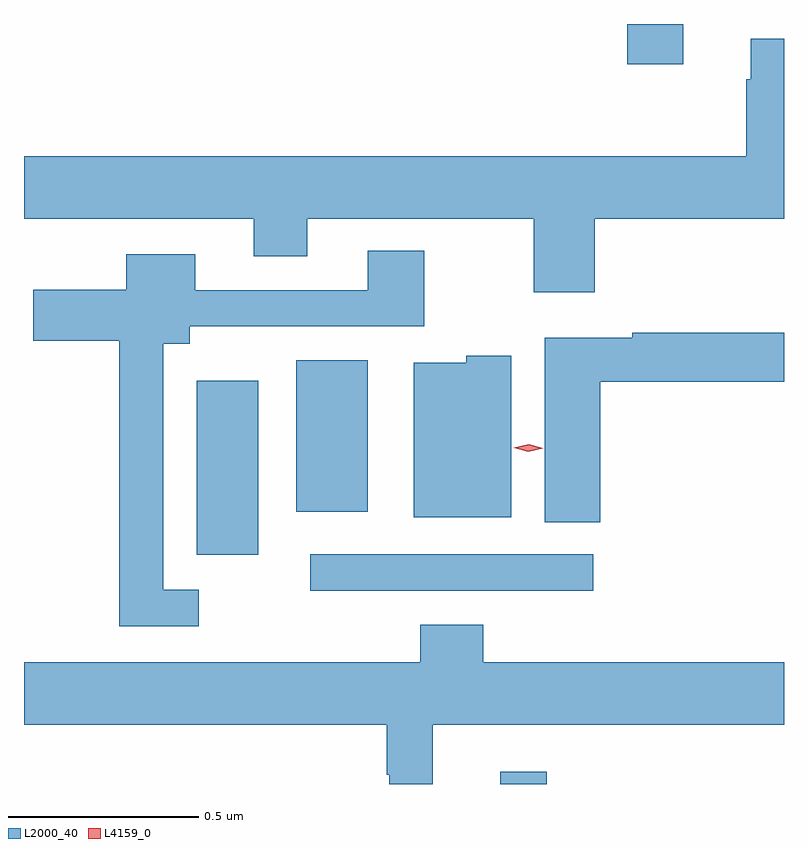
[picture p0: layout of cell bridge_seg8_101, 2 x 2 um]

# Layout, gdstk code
import gdstk
lib = gdstk.Library(unit=1e-6, precision=1e-09)
def R(c, l, rs):  # rectangles x0, y0, x1, y1
    for r in rs: c.add(gdstk.rectangle(r[:2], r[2:], *l))
def P(c, l, *ps):  # polygons
    for p in ps: c.add(gdstk.Polygon(p, *l))
L2000_40 = (2000, 40)
L4159_0 = (4159, 0)

bridge_seg8_101 = lib.new_cell('bridge_seg8_101')
R(bridge_seg8_101, L2000_40, [(724.451,1133.66,724.573,1133.692), (723.951,1134.168,724.696,1134.264), (723.653,1134.263,723.814,1134.721), (723.914,1134.377,724.102,1134.775), (724.785,1135.554,724.933,1135.66)])
P(bridge_seg8_101, L2000_40, [(724.7,1135.148),(725.198,1135.148),(725.198,1135.621),(725.111,1135.621),(725.111,1135.514),(725.099,1135.514),(725.099,1135.312),(723.198,1135.312),(723.198,1135.148),(723.803,1135.148),(723.803,1135.049),(723.943,1135.049),(723.943,1135.148),(724.54,1135.148),(724.54,1134.954),(724.7,1134.954)],
  [(723.658,1134.171),(723.564,1134.171),(723.564,1134.818),(723.634,1134.818),(723.634,1134.864),(724.251,1134.864),(724.251,1135.063),(724.103,1135.063),(724.103,1134.96),(723.649,1134.96),(723.649,1135.054),(723.467,1135.054),(723.467,1134.961),(723.222,1134.961),(723.222,1134.827),(723.448,1134.827),(723.448,1134.075),(723.658,1134.075)],
  [(724.715,1134.718),(725.198,1134.718),(725.198,1134.847),(724.798,1134.847),(724.798,1134.834),(724.568,1134.834),(724.568,1134.349),(724.715,1134.349)],
  [(724.48,1134.787),(724.362,1134.787),(724.362,1134.769),(724.223,1134.769),(724.223,1134.362),(724.48,1134.362)],
  [(724.273,1133.816),(725.198,1133.816),(725.198,1133.98),(724.406,1133.98),(724.406,1134.079),(724.241,1134.079),(724.241,1133.98),(723.198,1133.98),(723.198,1133.816),(724.152,1133.816),(724.152,1133.684),(724.159,1133.684),(724.159,1133.66),(724.273,1133.66)])
P(bridge_seg8_101, L4159_0, [(724.525,1134.534),(724.487,1134.545),(724.487,1134.545),(724.487,1134.545),(724.526,1134.554),(724.564,1134.544),(724.564,1134.544),(724.564,1134.544)])

lib.write_gds('bridge_seg8_101.gds')
